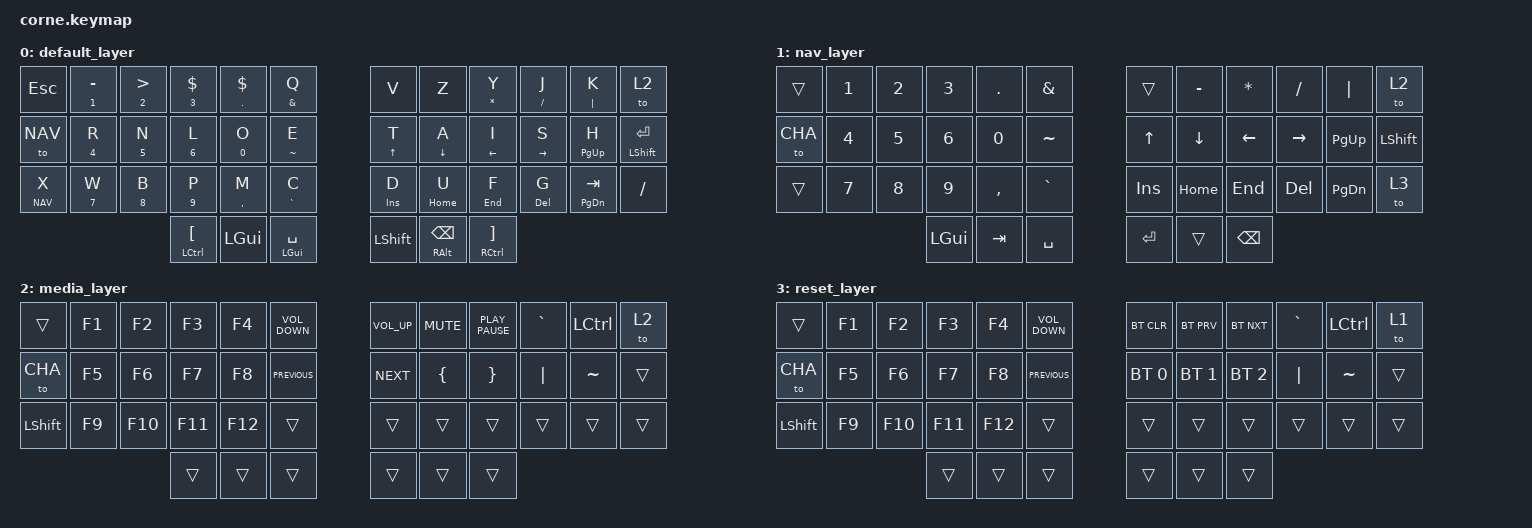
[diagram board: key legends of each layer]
/*
 * Copyright (c) 2020 The ZMK Contributors
 *
 * SPDX-License-Identifier: MIT
 */

#include <behaviors.dtsi>
#include <dt-bindings/zmk/keys.h>
#include <dt-bindings/zmk/bt.h>

#define CHA 0
#define NAV 1
#define MEDIA 2
#define RESET 3

&mt {
    tapping-term-ms = <400>;
};

/ {

        behaviors {
                skq: sticky_key_quick_release {
                        compatible = "zmk,behavior-sticky-key";
                        #binding-cells = <1>;
                        bindings = <&kp>;
                        release-after-ms = <1000>;
                        quick-release;
                        ignore-modifiers;
                };
        };

        macros {
                this_macro: this_macro {
                        label = "this_macro";
                        compatible = "zmk,behavior-macro";
                        tap-ms = <1>; 
                        wait-ms = <1>;
                        #binding-cells = <0>;
                        bindings = <&kp DOLLAR &kp T &kp H &kp I &kp S &kp KP_MINUS &kp GT>;
                };

                eol_nl_macro: eol_nl_macro {
                        label = "eol_nl_macro";
                        compatible = "zmk,behavior-macro";
                        tap-ms = <1>;
                        wait-ms = <1>;
                        #binding-cells = <0>;
                        bindings = <&kp END &kp SEMICOLON &kp RETURN>;
                };
        };

        combos {
                compatible = "zmk,combos";
                combo_esc { 
                        timeout-ms = <50>;
                        key-positions = <8 9>;
                        bindings = <&kp ESC>;
                };

                eol_nl {
                        timeout-ms = <50>;
                        key-positions = <7 8>;
                        bindings = < &eol_nl_macro>;
                };

                next_page {
                        timeout-ms = <50>;
                        key-positions = <19 20>;
                        bindings = <&kp LC(PAGE_UP)>;
                };

                prev_page {
                        timeout-ms = <50>;
                        key-positions = <31 32>;
                        bindings = <&kp LC(PAGE_DOWN)>;
                };


                this_combo {
                        timeout-ms = <50>;
                        key-positions = <3>;
                        bindings = < &this_macro >;
                };
        };

        keymap {
                compatible = "zmk,keymap";
                default_layer {
                        bindings = <
        &kp ESCAPE      &mt N1  MINUS    &mt N2   GT     &mt N3    DLLR     &mt DOT       DOLLAR      &mt AMPS   Q            &kp V                &kp             Z              &mt STAR         Y         &mt FSLH          J     &mt PIPE        K        &to 2
        &to NAV         &mt N4  R        &mt N5   N      &mt N6    L        &mt N0        O           &mt TILDE  E            &mt UP_ARROW   T     &mt DOWN_ARROW  A              &mt LEFT_ARROW   I         &mt RIGHT_ARROW   S     &mt PAGE_UP     H        &mt LSHFT  ENTER
        &lt NAV X       &mt N7  W        &mt N8   B      &mt N9    P        &mt COMMA     M           &mt GRAVE  C            &mt INSERT     D     &mt HOME        U              &mt END          F         &mt DEL           G     &mt PAGE_DOWN   TAB      &kp FSLH
                                                         &mt LCTRL LBKT     &kp LEFT_GUI              &mt LEFT_GUI SPACE      &kp LSHFT            &mt RALT        BACKSPACE      &mt RCTRL        RBKT
                        >;
                };

                nav_layer {
                        bindings = <
        &trans          &kp N1           &kp N2          &kp N3             &kp DOT                   &kp AMPS               &trans               &kp MINUS                       &kp STAR                   &kp FSLH               &kp PIPE                  &to 2
        &to CHA         &kp N4           &kp N5          &kp N6             &kp N0                    &kp TILDE              &kp UP_ARROW         &kp DOWN_ARROW                  &kp LEFT_ARROW             &kp RIGHT_ARROW        &kp PAGE_UP               &kp LEFT_SHIFT
        &trans          &kp N7           &kp N8          &kp N9             &kp COMMA                 &kp GRAVE              &kp INSERT           &kp HOME                        &kp END                    &kp DEL                &kp PAGE_DOWN             &to 3
                                                         &kp LEFT_GUI       &kp TAB                   &kp SPACE              &kp ENTER            &trans                          &kp BACKSPACE
                        >;
                };

                media_layer {
                        bindings = <
        &trans          &kp F1          &kp F2         &kp F3             &kp F4                    &kp K_VOLUME_DOWN       &kp K_VOLUME_UP      &kp K_MUTE              &kp K_PLAY_PAUSE        &kp GRAVE             &kp LCTRL       &to 2
        &to CHA         &kp F5          &kp F6         &kp F7             &kp F8                    &kp C_PREVIOUS          &kp C_NEXT           &kp LBRC                &kp RBRC                &kp PIPE              &kp TILDE       &trans
        &kp LSHFT       &kp F9          &kp F10        &kp F11            &kp F12                   &trans                  &trans               &trans                  &trans                  &trans                &trans          &trans
                                                       &trans             &trans                    &trans                  &trans               &trans                   &trans   
                        >;  
                };

                reset_layer {
                        bindings = <
        &trans          &kp F1          &kp F2         &kp F3             &kp F4                    &kp K_VOLUME_DOWN       &bt BT_CLR           &bt BT_PRV              &bt BT_NXT              &kp GRAVE             &kp LCTRL       &to 1
        &to CHA         &kp F5          &kp F6         &kp F7             &kp F8                    &kp C_PREVIOUS          &bt BT_SEL 0         &bt BT_SEL 1            &bt BT_SEL 2            &kp PIPE              &kp TILDE       &trans
        &kp LSHFT       &kp F9          &kp F10        &kp F11            &kp F12                   &trans                  &trans               &trans                  &trans                  &trans                &trans          &trans
                                                       &trans             &trans                    &trans                  &trans               &trans                   &trans   
                        >;
                };
        };
};
